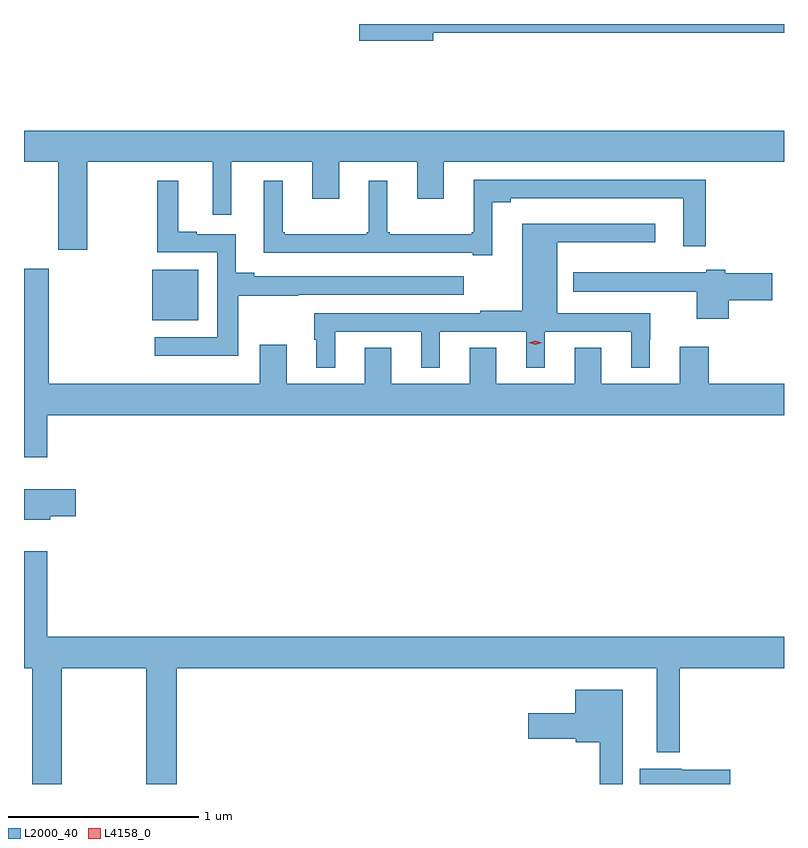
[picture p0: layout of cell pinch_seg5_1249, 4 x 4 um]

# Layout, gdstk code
import gdstk
lib = gdstk.Library(unit=1e-6, precision=1e-09)
def R(c, l, rs):  # rectangles x0, y0, x1, y1
    for r in rs: c.add(gdstk.rectangle(r[:2], r[2:], *l))
def P(c, l, *ps):  # polygons
    for p in ps: c.add(gdstk.Polygon(p, *l))
L2000_40 = (2000, 40)
L4158_0 = (4158, 0)

pinch_seg5_1249 = lib.new_cell('pinch_seg5_1249')
R(pinch_seg5_1249, L2000_40, [(467.942,838.61,468.184,838.876)])
P(pinch_seg5_1249, L2000_40, [(469.42,840.124),(471.267,840.124),(471.267,840.17),(469.032,840.17),(469.032,840.082),(469.42,840.082)],
  [(467.601,839.444),(468.26,839.444),(468.26,839.166),(468.358,839.166),(468.358,839.444),(468.785,839.444),(468.785,839.25),(468.925,839.25),(468.925,839.444),(469.337,839.444),(469.337,839.25),(469.477,839.25),(469.477,839.444),(471.267,839.444),(471.267,839.608),(467.267,839.608),(467.267,839.444),(467.446,839.444),(467.446,838.983),(467.601,838.983)],
  [(469.732,839.233),(469.828,839.233),(469.828,839.252),(470.738,839.252),(470.738,839.001),(470.855,839.001),(470.855,839.349),(469.634,839.349),(469.634,839.074),(469.623,839.074),(469.623,839.063),(469.192,839.063),(469.192,839.074),(469.18,839.074),(469.18,839.344),(469.082,839.344),(469.082,839.074),(469.071,839.074),(469.071,839.063),(468.64,839.063),(468.64,839.074),(468.628,839.074),(468.628,839.344),(468.53,839.344),(468.53,838.965),(469.628,838.965),(469.628,838.953),(469.732,838.953)],
  [(468.394,838.741),(468.71,838.741),(468.71,838.746),(469.582,838.746),(469.582,838.842),(468.478,838.842),(468.478,838.862),(468.382,838.862),(468.382,839.064),(468.175,839.064),(468.175,839.077),(468.079,839.077),(468.079,839.344),(467.968,839.344),(467.968,838.968),(468.285,838.968),(468.285,838.521),(467.955,838.521),(467.955,838.424),(468.394,838.424)],
  [(468.904,838.551),(469.358,838.551),(469.358,838.361),(469.456,838.361),(469.456,838.551),(469.91,838.551),(469.91,838.361),(470.008,838.361),(470.008,838.551),(470.462,838.551),(470.462,838.361),(470.56,838.361),(470.56,838.508),(470.562,838.508),(470.562,838.647),(470.074,838.647),(470.074,839.021),(470.59,839.021),(470.59,839.119),(469.889,839.119),(469.889,838.66),(469.669,838.66),(469.669,838.647),(468.795,838.647),(468.795,838.508),(468.806,838.508),(468.806,838.361),(468.904,838.361)],
  [(471.267,838.276),(470.87,838.276),(470.87,838.471),(470.717,838.471),(470.717,838.276),(470.305,838.276),(470.305,838.466),(470.165,838.466),(470.165,838.276),(469.753,838.276),(469.753,838.466),(469.613,838.466),(469.613,838.276),(469.201,838.276),(469.201,838.466),(469.061,838.466),(469.061,838.276),(468.649,838.276),(468.649,838.483),(468.509,838.483),(468.509,838.276),(467.398,838.276),(467.398,838.882),(467.267,838.882),(467.267,837.891),(467.389,837.891),(467.389,838.112),(471.267,838.112)],
  [(470.975,838.717),(471.205,838.717),(471.205,838.859),(470.958,838.859),(470.958,838.877),(470.858,838.877),(470.858,838.864),(470.159,838.864),(470.159,838.76),(470.807,838.76),(470.807,838.62),(470.975,838.62)],
  [(467.404,837.578),(467.539,837.578),(467.539,837.721),(467.267,837.721),(467.267,837.56),(467.404,837.56)],
  [(467.466,836.78),(467.911,836.78),(467.911,836.17),(468.071,836.17),(468.071,836.78),(470.597,836.78),(470.597,836.336),(470.719,836.336),(470.719,836.78),(471.267,836.78),(471.267,836.944),(467.389,836.944),(467.389,837.394),(467.267,837.394),(467.267,836.78),(467.311,836.78),(467.311,836.17),(467.466,836.17)],
  [(470.419,836.665),(470.168,836.665),(470.168,836.542),(469.92,836.542),(469.92,836.408),(470.172,836.408),(470.172,836.39),(470.298,836.39),(470.298,836.17),(470.419,836.17)],
  [(470.983,836.246),(470.73,836.246),(470.73,836.251),(470.507,836.251),(470.507,836.17),(470.983,836.17)])
P(pinch_seg5_1249, L4158_0, [(469.959,838.483),(469.924,838.492),(469.923,838.493),(469.924,838.493),(469.959,838.503),(469.995,838.493),(469.995,838.493),(469.995,838.492)])

lib.write_gds('pinch_seg5_1249.gds')
